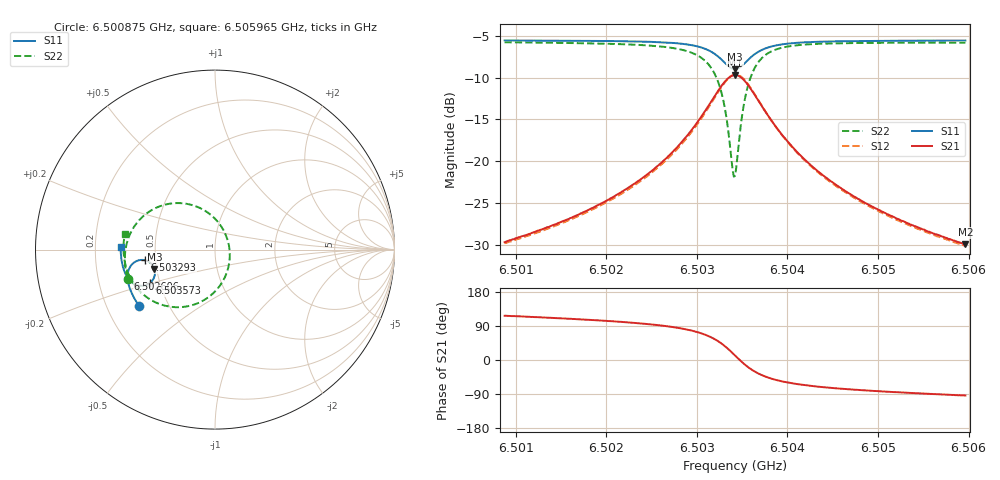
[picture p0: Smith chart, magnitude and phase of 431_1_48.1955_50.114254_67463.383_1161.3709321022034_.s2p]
#  HZ  S  RI  R  50.00
! Rohde & Schwarz Vector Network Analyzer
! Rohde-Schwarz,ZNB20-2Port,1311601062101988,3.16
! Created: UTC 3/20/2024, 11:55:20 AM
! freq[Hz]  re:S11  im:S11  re:S21  im:S21  re:S12  im:S12  re:S22  im:S22
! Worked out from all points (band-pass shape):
!   401 points, 6.500875 GHz to 6.505965 GHz, reference 50 ohm
!   highest |S21| = -9.71 dB at 6.50342 GHz (marker M1); lowest = -29.9 dB at 6.505965 GHz (marker M2)
!   |S21| within 3 dB of the highest: 6.503166 GHz to 6.503676 GHz (509.4 kHz wide, 0.00783 % of centre)
!   lowest |S11| = -9.0 dB at 6.50342 GHz (marker M3), VSWR 2.10, Z = 24.3 - j5.96 ohm
!   |S11| at or under -10 dB: nowhere
!   |S22| runs from -21.8 to -5.8 dB; largest |S21 - S12| = 0.012
!   S11 on the Smith chart (normalised r, x): 6.500875 GHz: 0.34, -0.30; 6.502606 GHz: 0.33, -0.15; 6.503293 GHz: 0.44, -0.06; 6.503573 GHz: 0.44, -0.20; 6.505965 GHz: 0.31, +0.01
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6.5008754e9  -0.4231 -0.3132  -0.0148 0.0294  -0.0133 0.0297  -0.4873 -0.1616
6.5017279e9  -0.4602 -0.2508  -0.0144 0.047  -0.012 0.0467  -0.5017 -0.0722
6.5021987e9  -0.477 -0.2096  -0.0116 0.0665  -0.0086 0.0653  -0.4994 -0.0064
6.5025804e9  -0.4863 -0.1678  -0.00275 0.0953  0.000823 0.0931  -0.4807 0.0686
6.5026059e9  -0.4866 -0.1646  -0.0016 0.098  0.00207 0.0957  -0.4782 0.0749
6.5028985e9  -0.4832 -0.12  0.025 0.1417  0.029 0.1373  -0.4227 0.1637
6.5030894e9  -0.4624 -0.0819  0.0785 0.1837  0.0811 0.1774  -0.3208 0.2361
6.5032039e9  -0.4301 -0.0613  0.1467 0.2013  0.1477 0.1949  -0.1978 0.2591
6.503293e9  -0.3901 -0.0591  0.2256 0.1858  0.2258 0.1805  -0.0618 0.2202
6.5033312e9  -0.371 -0.0666  0.2618 0.1632  0.2626 0.1585  -0.00195 0.1742
6.5033948e9  -0.3442 -0.093  0.3097 0.1001  0.3122 0.0949  0.0705 0.0526
6.5034202e9  -0.3377 -0.1074  0.32 0.068  0.3231 0.062  0.0817 -0.00699
6.5034457e9  -0.3347 -0.123  0.324 0.0345  0.3272 0.0275  0.0803 -0.0679
6.5035093e9  -0.3414 -0.16  0.3063 -0.043  0.3085 -0.0532  0.026 -0.203
6.5035729e9  -0.3627 -0.1859  0.2639 -0.0974  0.2628 -0.1087  -0.0699 -0.2862
6.5036747e9  -0.4019 -0.2013  0.1896 -0.1337  0.1841 -0.1433  -0.2193 -0.3208
6.5038401e9  -0.4479 -0.1917  0.1082 -0.131  0.1011 -0.1361  -0.3658 -0.275
6.5040183e9  -0.4754 -0.1704  0.0638 -0.1111  0.0575 -0.1134  -0.4379 -0.2104
6.5042727e9  -0.496 -0.1405  0.0338 -0.0871  0.0291 -0.0875  -0.4813 -0.1386
6.5046926e9  -0.5127 -0.0972  0.0139 -0.0623  0.0106 -0.0618  -0.5046 -0.0578
6.5051253e9  -0.521 -0.0574  0.00499 -0.0476  0.00282 -0.0469  -0.51 0.00166
6.5059651e9  -0.5259 0.0135  -0.00207 -0.0319  -0.00334 -0.031  -0.502 0.0897
